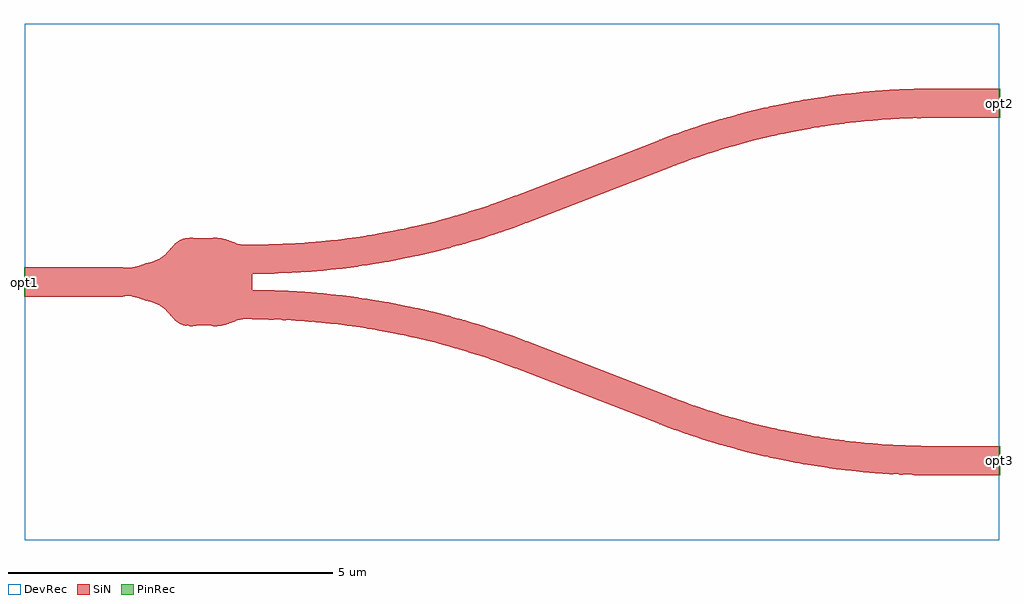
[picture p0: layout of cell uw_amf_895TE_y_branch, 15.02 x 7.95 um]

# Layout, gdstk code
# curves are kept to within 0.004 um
import gdstk
lib = gdstk.Library(unit=1e-6, precision=1e-09)
def R(c, l, rs):  # rectangles x0, y0, x1, y1
    for r in rs: c.add(gdstk.rectangle(r[:2], r[2:], *l))
def P(c, l, *ps):  # polygons
    for p in ps: c.add(gdstk.Polygon(p, *l))
SiN = (1, 5)
PinRec = (1, 10)
DevRec = (68, 0)

uw_amf_895te_y_branch = lib.new_cell('uw_amf_895TE_y_branch')
R(uw_amf_895te_y_branch, SiN, [(14,-2.975,15,-2.525), (0,-0.225,1.5,0.225), (14,2.525,15,2.975)])
P(uw_amf_895te_y_branch, SiN, [(2.378,-0.637),(2.321,-0.594),(2.156,-0.415),(2.11,-0.379),(2.058,-0.349),(1.964,-0.313),(1.692,-0.23),(1.617,-0.22),(1.5,-0.225),(1.5,0.225),(1.617,0.22),(1.683,0.228),(1.964,0.313),(2.058,0.349),(2.11,0.379),(2.156,0.415),(2.296,0.569),(2.378,0.637)],
  [(2.543,-0.678),(2.453,-0.667),(2.378,-0.637),(2.378,0.637),(2.438,0.663),(2.522,0.677),(2.962,0.678),(3.076,0.66),(3.268,0.592),(3.333,0.575),(3.377,0.57),(3.5,0.575),(3.5,-0.575),(3.433,-0.57),(3.333,-0.575),(3.268,-0.592),(3.097,-0.654),(2.991,-0.676)],
  [(3.5,0.125),(3.5,0.575),(3.899,0.582),(4.322,0.605),(4.708,0.64),(5.166,0.699),(5.591,0.771),(5.968,0.849),(6.377,0.949),(6.738,1.051),(6.738,0.58),(6.728,0.577),(6.286,0.46),(5.935,0.38),(5.532,0.302),(5.119,0.237),(4.706,0.187),(4.34,0.155),(3.935,0.133)],
  [(6.738,-1.051),(6.377,-0.949),(5.968,-0.849),(5.591,-0.771),(5.166,-0.699),(4.708,-0.64),(4.322,-0.605),(3.899,-0.582),(3.5,-0.575),(3.5,-0.125),(3.935,-0.133),(4.34,-0.155),(4.706,-0.187),(5.119,-0.237),(5.532,-0.302),(5.935,-0.38),(6.286,-0.46),(6.728,-0.577),(6.738,-0.58)],
  [(6.738,0.58),(6.738,1.051),(7.131,1.177),(7.555,1.331),(7.735,0.915),(7.237,0.735)],
  [(7.555,-1.331),(7.131,-1.177),(6.738,-1.051),(6.738,-0.58),(7.237,-0.735),(7.735,-0.915)],
  [(7.735,0.915),(7.555,1.331),(9.765,2.185),(9.945,1.769)],
  [(9.765,-2.185),(7.555,-1.331),(7.735,-0.915),(9.945,-1.769)],
  [(12.533,-2.883),(12.153,-2.829),(11.788,-2.765),(11.441,-2.693),(11.09,-2.609),(10.772,-2.523),(10.422,-2.417),(10.055,-2.293),(9.765,-2.185),(9.945,-1.769),(10.285,-1.894),(10.575,-1.991),(10.937,-2.1),(11.231,-2.179),(11.532,-2.251),(11.872,-2.322),(12.193,-2.379),(12.533,-2.429)],
  [(9.945,1.769),(9.767,2.186),(10.055,2.293),(10.422,2.417),(10.772,2.523),(11.09,2.609),(11.441,2.693),(11.788,2.765),(12.153,2.829),(12.533,2.883),(12.533,2.429),(12.193,2.379),(11.872,2.322),(11.532,2.251),(11.231,2.179),(10.937,2.1),(10.575,1.991),(10.285,1.894)],
  [(12.533,2.429),(12.533,2.883),(13.119,2.942),(13.446,2.962),(13.737,2.972),(13.737,2.522),(13.458,2.512),(13.125,2.491)],
  [(13.733,-2.972),(13.446,-2.962),(13.119,-2.942),(12.533,-2.883),(12.533,-2.429),(13.125,-2.491),(13.458,-2.512),(13.737,-2.522)],
  [(13.737,2.522),(13.737,2.972),(14,2.975),(14,2.525)],
  [(13.958,-2.975),(13.737,-2.972),(13.737,-2.522),(14,-2.525),(14,-2.975)])
R(uw_amf_895te_y_branch, DevRec, [(0,-3.975,15,3.975)])
uw_amf_895te_y_branch.add(gdstk.FlexPath([(14.99,2.75),(15.01,2.75)], 0.45, ends="flush", simple_path=True, layer=1, datatype=10))  # PinRec
uw_amf_895te_y_branch.add(gdstk.FlexPath([(14.99,-2.75),(15.01,-2.75)], 0.45, ends="flush", simple_path=True, layer=1, datatype=10))  # PinRec
uw_amf_895te_y_branch.add(gdstk.FlexPath([(0.01,0),(-0.01,0)], 0.45, ends="flush", simple_path=True, layer=1, datatype=10))  # PinRec
uw_amf_895te_y_branch.add(gdstk.Label('opt2', (15,2.75), layer=1, texttype=10))
uw_amf_895te_y_branch.add(gdstk.Label('opt3', (15,-2.75), layer=1, texttype=10))
uw_amf_895te_y_branch.add(gdstk.Label('opt1', (0,0), layer=1, texttype=10))

lib.write_gds('uw_amf_895TE_y_branch.gds')
